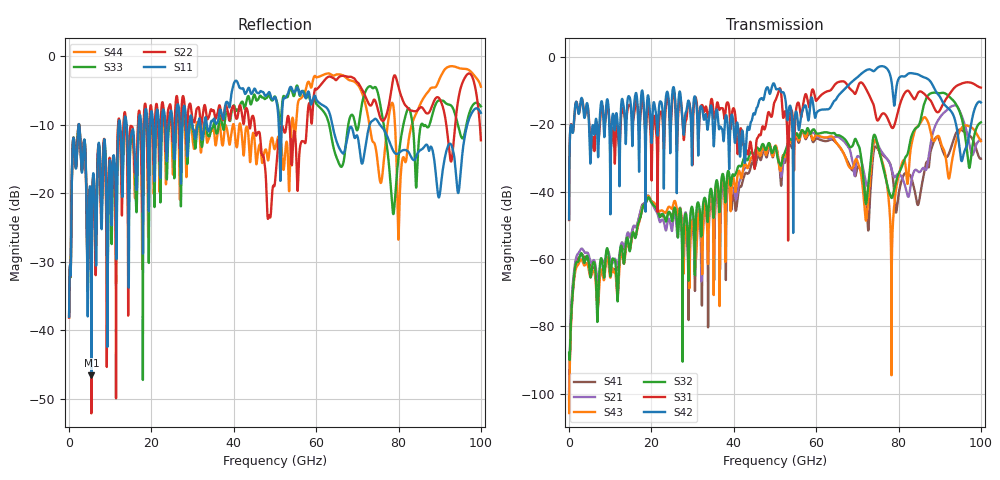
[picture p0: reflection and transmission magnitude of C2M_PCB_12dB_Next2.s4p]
! Info: Touchstone file created by Circ.  Input file=Intel_C2M_200G_1p5in_202204012_staggered.circ
# Hz S RI R 50
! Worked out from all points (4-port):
!   10000 points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, 10 MHz to 100 GHz, reference 50 ohm
!   strongest paths, dB at 10 MHz, 25.01 GHz, 50.01 GHz, 75.01 GHz, 100 GHz:
!     S42: -48.2, -11.6, -8.7, -3.1, -13.5
!     S31: -48.4, -13.8, -13.1, -18.8, -9.1
!     S32: -87.8, -48.7, -26.5, -26.4, -19.4
!     S43: -101.0, -45.0, -26.6, -26.8, -25.0
!     S21: -98.6, -51.6, -26.7, -26.0, -24.6
!     S41: -99.4, -47.1, -27.1, -27.4, -30.2
!   lowest |S11| = -46.6 dB at 5.44 GHz (marker M1), VSWR 1.01, Z = 49.6 - j0.255 ohm
!   |S11| at or under -10 dB: 2.448 GHz to 12.02 GHz (9.573 GHz wide, 132 % of centre); 63.93 GHz to 72.99 GHz (9.063 GHz wide, 13.2 % of centre); 75.5 GHz to 96.69 GHz (21.19 GHz wide, 24.6 % of centre)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
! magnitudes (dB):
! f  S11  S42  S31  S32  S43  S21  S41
! 10 MHz  -38.0  -48.2  -48.4  -87.8  -101.0  -98.6  -99.4
! 5.44 GHz  -46.6  -24.3  -27.1  -63.8  -64.7  -61.1  -62.7
! 56.62 GHz  -5.1  -16.1  -16.0  -21.7  -21.8  -21.8  -22.0
! 74.48 GHz  -9.1  -3.7  -17.5  -23.9  -25.0  -24.7  -26.6
! 78.34 GHz  -13.3  -7.6  -20.9  -41.9  -65.4  -33.4  -33.6
! 85.97 GHz  -13.4  -5.9  -10.7  -15.1  -18.2  -33.0  -36.0
! 100 GHz  -8.3  -13.5  -9.1  -19.4  -25.0  -24.6  -30.2
